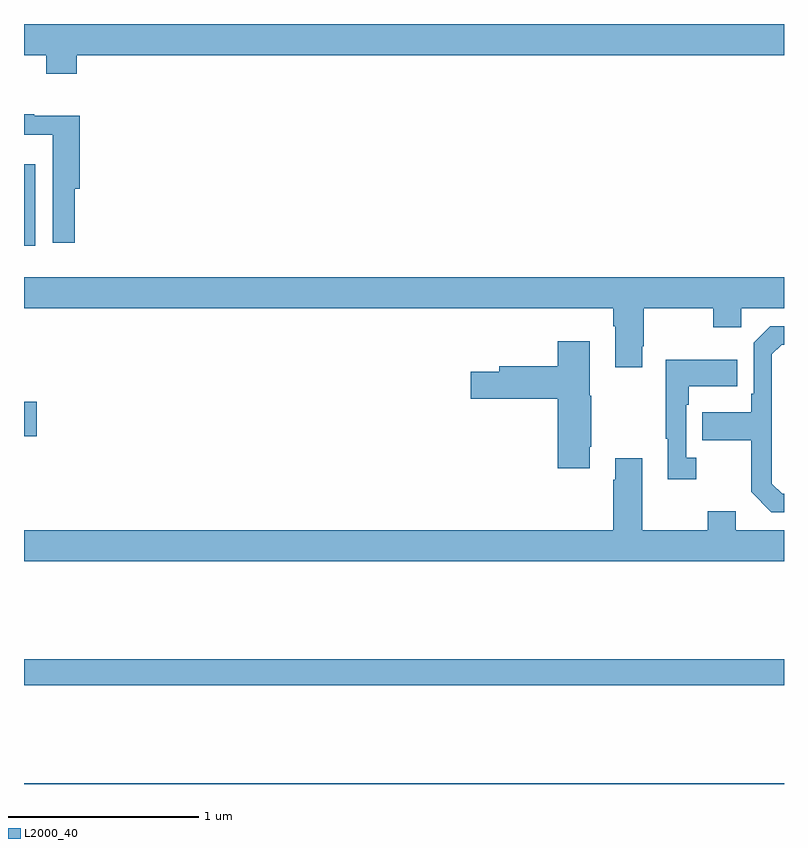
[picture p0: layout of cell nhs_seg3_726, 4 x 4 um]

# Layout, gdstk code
import gdstk
lib = gdstk.Library(unit=1e-6, precision=1e-09)
def R(c, l, rs):  # rectangles x0, y0, x1, y1
    for r in rs: c.add(gdstk.rectangle(r[:2], r[2:], *l))
def P(c, l, *ps):  # polygons
    for p in ps: c.add(gdstk.Polygon(p, *l))
L2000_40 = (2000, 40)

nhs_seg3_726 = lib.new_cell('nhs_seg3_726')
R(nhs_seg3_726, L2000_40, [(147,710.4,151,710.404), (147,710.92,151,711.056), (147,712.229,147.067,712.412), (147,713.232,147.058,713.662)])
P(nhs_seg3_726, L2000_40, [(147.278,714.236),(151,714.236),(151,714.4),(147,714.4),(147,714.236),(147.118,714.236),(147.118,714.137),(147.278,714.137)],
  [(147.266,713.534),(147.293,713.534),(147.293,713.916),(147.053,713.916),(147.053,713.926),(147,713.926),(147,713.816),(147.15,713.816),(147.15,713.25),(147.266,713.25)],
  [(150.253,712.705),(150.261,712.705),(150.261,712.904),(150.628,712.904),(150.628,712.805),(150.774,712.805),(150.774,712.904),(151,712.904),(151,713.068),(147,713.068),(147,712.904),(150.101,712.904),(150.101,712.808),(150.113,712.808),(150.113,712.593),(150.253,712.593)],
  [(151,711.927),(150.99,711.927),(150.936,711.981),(150.936,712.662),(150.987,712.713),(151,712.713),(151,712.809),(150.927,712.809),(150.84,712.722),(150.84,712.453),(150.828,712.453),(150.828,712.357),(150.571,712.357),(150.571,712.21),(150.828,712.21),(150.828,711.937),(150.933,711.831),(151,711.831)],
  [(149.977,712.174),(149.985,712.174),(149.985,712.443),(149.977,712.443),(149.977,712.729),(149.81,712.729),(149.81,712.599),(149.501,712.599),(149.501,712.569),(149.352,712.569),(149.352,712.427),(149.81,712.427),(149.81,712.062),(149.977,712.062)],
  [(150.538,712.118),(150.486,712.118),(150.486,712.397),(150.499,712.397),(150.499,712.493),(150.755,712.493),(150.755,712.633),(150.378,712.633),(150.378,712.217),(150.389,712.217),(150.389,712.005),(150.538,712.005)],
  [(151,711.736),(150.745,711.736),(150.745,711.835),(150.598,711.835),(150.598,711.736),(150.253,711.736),(150.253,712.114),(150.113,712.114),(150.113,712.001),(150.101,712.001),(150.101,711.736),(147,711.736),(147,711.572),(151,711.572)])

lib.write_gds('nhs_seg3_726.gds')
